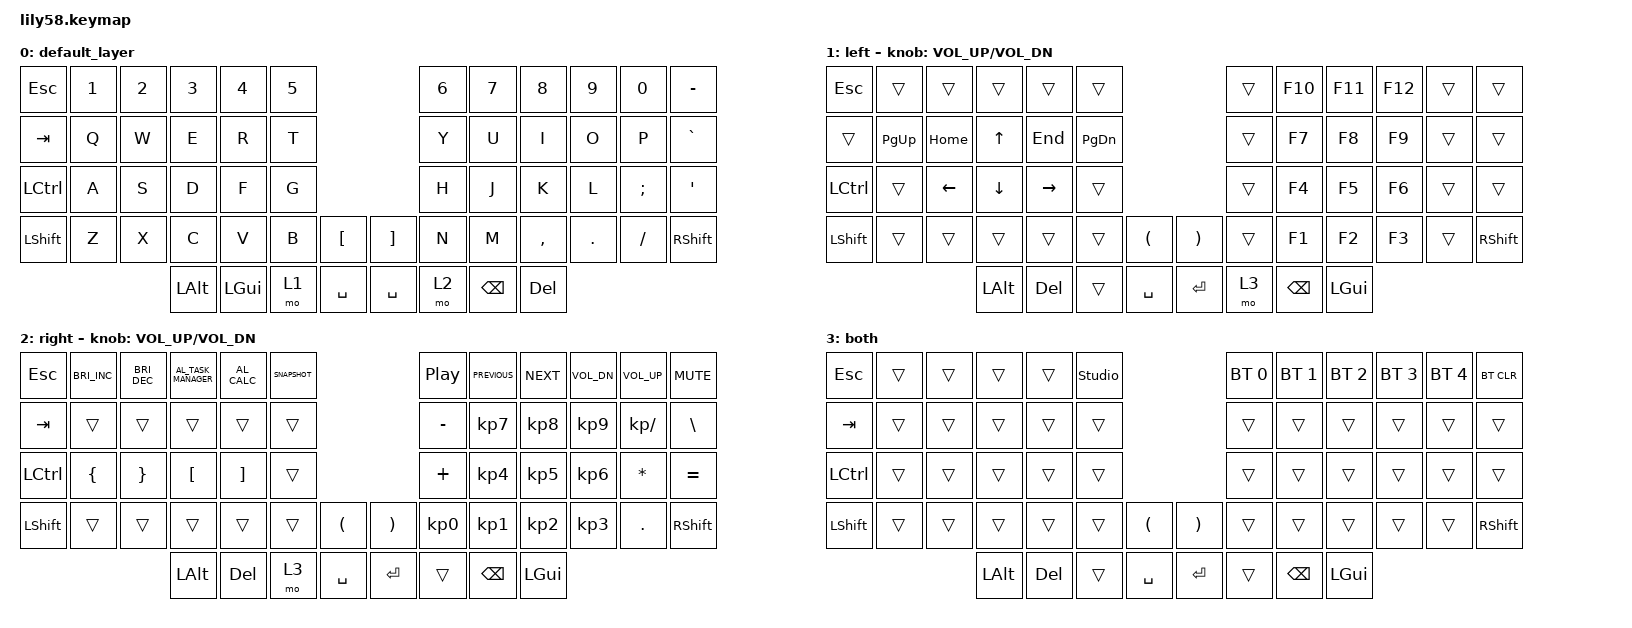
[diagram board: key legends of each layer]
/*
 * Copyright (c) 2020 The ZMK Contributors
 *
 * SPDX-License-Identifier: MIT
 */

#include <behaviors.dtsi>
#include <dt-bindings/zmk/bt.h>
#include <dt-bindings/zmk/keys.h>

/ {
    keymap {
        compatible = "zmk,keymap";

        default_layer {
            // ------------------------------------------------------------------------------------------------------------
            // |  ESC  |  1  |  2  |  3   |  4   |  5   |                   |  6   |  7    |  8    |  9   |   0   |   `   |
            // |  TAB  |  Q  |  W  |  E   |  R   |  T   |                   |  Y   |  U    |  I    |  O   |   P   |   -   |
            // |  CTRL |  A  |  S  |  D   |  F   |  G   |                   |  H   |  J    |  K    |  L   |   ;   |   '   |
            // | SHIFT |  Z  |  X  |  C   |  V   |  B   |   "["  |  |  "]"  |  N   |  M    |  ,    |  .   |   /   | SHIFT |
            //                     | ALT  | GUI  | LOWER|  SPACE |  | ENTER | RAISE| BSPC  | GUI   |

            bindings = <
&kp ESC    &kp N1  &kp N2  &kp N3    &kp N4        &kp N5                          &kp N6  &kp N7    &kp N8      &kp N9   &kp N0    &kp MINUS
&kp TAB    &kp Q   &kp W   &kp E     &kp R         &kp T                           &kp Y   &kp U     &kp I       &kp O    &kp P     &kp GRAVE
&kp LCTRL  &kp A   &kp S   &kp D     &kp F         &kp G                           &kp H   &kp J     &kp K       &kp L    &kp SEMI  &kp SQT
&kp LSHFT  &kp Z   &kp X   &kp C     &kp V         &kp B   &kp LBKT     &kp RBKT   &kp N   &kp M     &kp COMMA   &kp DOT  &kp FSLH  &kp RSHFT
                           &kp LALT  &kp LEFT_GUI  &mo 1   &kp SPACE    &kp SPACE  &mo 2   &kp BSPC  &kp DELETE
            >;
        };

        left {
            // ------------------------------------------------------------------------------------------------------------
            // |       |     |     |      |      |      |                   |      |       |       |      |       |       |
            // |   `   |  1  |  2  |  3   |  4   |  5   |                   |  6   |   7   |   8   |  9   |   0   |       |
            // |   F1  |  F2 |  F3 |  F4  |  F5  |  F6  |                   |      |   <-  |   v   |  ^   |  ->   |       |
            // |   F7  |  F8 |  F9 |  F10 |  F11 |  F12 |        |  |       |  +   |   -   |   =   |  [   |   ]   |   \   |
            //                     |      |      |      |        |  |       |      |       |       |

            bindings = <
&kp ESC           &trans     &trans          &trans          &trans      &trans                                                    &trans  &kp F10   &kp F11       &kp F12  &trans  &trans
&trans            &kp PG_UP  &kp HOME        &kp UP_ARROW    &kp END     &kp PG_DN                                                 &trans  &kp F7    &kp F8        &kp F9   &trans  &trans
&kp LEFT_CONTROL  &trans     &kp LEFT_ARROW  &kp DOWN_ARROW  &kp RIGHT   &trans                                                    &trans  &kp F4    &kp F5        &kp F6   &trans  &trans
&kp LEFT_SHIFT    &trans     &trans          &trans          &trans      &trans     &kp LEFT_PARENTHESIS    &kp RIGHT_PARENTHESIS  &trans  &kp F1    &kp F2        &kp F3   &trans  &kp RIGHT_SHIFT
                                             &kp LEFT_ALT    &kp DELETE  &trans     &kp SPACE               &kp ENTER              &mo 3   &kp BSPC  &kp LEFT_GUI
            >;

            sensor-bindings = <&inc_dec_kp C_VOL_UP C_VOL_DN>;
        };

        right {
            // --------------------------------------------------------------------------------------------------------------
            // | LPAD  | BRDn | BRUp |  MUT |  Vo- |  Vo+ |                   |      |       |       |      |       |       |
            // |  F1   |  F2  |  F3  |  F4  |  F5  |  F6  |                   |  F7  |  F8   |  F9   |  F10 |  F11  |  F12  |
            // |   `   |  !   |  @   |  #   |  $   |  %   |                   |  ^   |  &    |  *    |  (   |   )   |   ~   |
            // |       |      |      |      |      |      |        |  |       |      |  _    |  +    |  {   |   }   |  "|"  |
            //                       |      |      |      |        |  |       |      |       |       |

            bindings = <
&kp ESC           &kp C_BRIGHTNESS_INC  &kp C_BRIGHTNESS_DEC  &kp C_AL_TASK_MANAGER  &kp C_AL_CALC  &kp C_SNAPSHOT                          &kp C_PP         &kp C_PREVIOUS   &kp C_NEXT       &kp C_VOL_DN     &kp C_VOLUME_UP  &kp C_MUTE
&kp TAB           &trans                &trans                &trans                 &trans         &trans                                  &kp MINUS        &kp KP_NUMBER_7  &kp KP_NUMBER_8  &kp KP_NUMBER_9  &kp KP_SLASH     &kp BACKSLASH
&kp LEFT_CONTROL  &kp LBRC              &kp RBRC              &kp LBKT               &kp RBKT       &trans                                  &kp PLUS         &kp KP_NUMBER_4  &kp KP_NUMBER_5  &kp KP_NUMBER_6  &kp ASTERISK     &kp EQUAL
&kp LEFT_SHIFT    &trans                &trans                &trans                 &trans         &trans          &kp LPAR     &kp RPAR   &kp KP_NUMBER_0  &kp KP_NUMBER_1  &kp KP_NUMBER_2  &kp KP_NUMBER_3  &kp DOT          &kp RIGHT_SHIFT
                                                              &kp LEFT_ALT           &kp DELETE     &mo 3           &kp SPACE    &kp ENTER  &trans           &kp BSPC         &kp LEFT_GUI
            >;

            sensor-bindings = <&inc_dec_kp C_VOL_UP C_VOL_DN>;
        };

        both {
            bindings = <
&kp ESC         &trans  &trans  &trans        &trans      &studio_unlock                                                 &bt BT_SEL 0  &bt BT_SEL 1   &bt BT_SEL 2  &bt BT_SEL 3  &bt BT_SEL 4  &bt BT_CLR
&kp TAB         &trans  &trans  &trans        &trans      &trans                                                         &trans        &trans         &trans        &trans        &trans        &trans
&kp LCTRL       &trans  &trans  &trans        &trans      &trans                                                         &trans        &trans         &trans        &trans        &trans        &trans
&kp LEFT_SHIFT  &trans  &trans  &trans        &trans      &trans          &kp LEFT_PARENTHESIS    &kp RIGHT_PARENTHESIS  &trans        &trans         &trans        &trans        &trans        &kp RIGHT_SHIFT
                                &kp LEFT_ALT  &kp DELETE  &trans          &kp SPACE               &kp ENTER              &trans        &kp BACKSPACE  &kp LEFT_GUI
            >;
        };
    };
};
